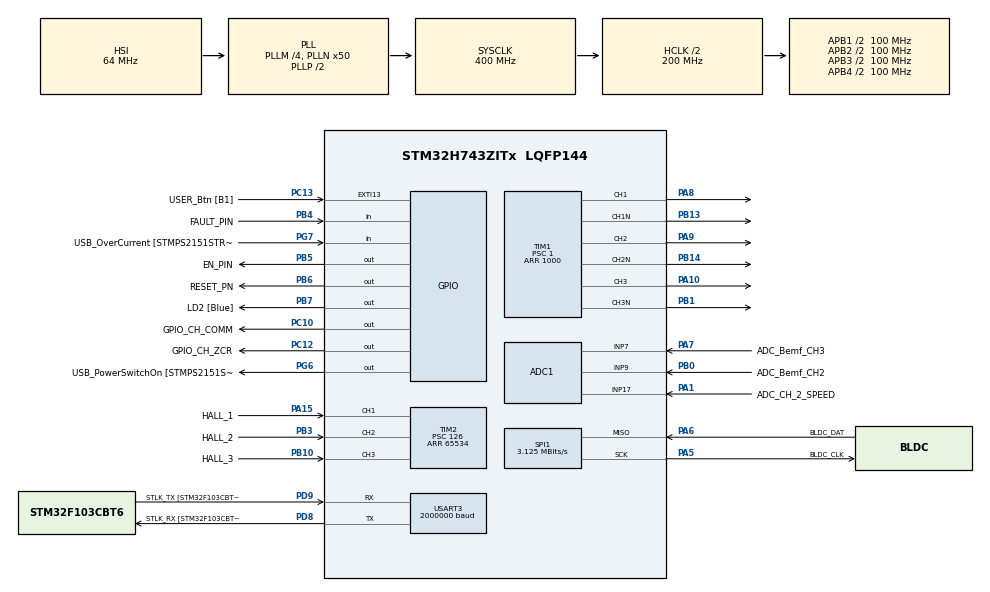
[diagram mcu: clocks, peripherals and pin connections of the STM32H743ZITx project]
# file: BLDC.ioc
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ADC1.Channel-0\#ChannelRegularConversion=ADC_CHANNEL_9
ADC1.NbrOfConversionFlag=1
ADC1.OffsetNumber-0\#ChannelRegularConversion=ADC_OFFSET_NONE
ADC1.Rank-0\#ChannelRegularConversion=1
ADC1.SamplingTime-0\#ChannelRegularConversion=ADC_SAMPLETIME_1CYCLE_5
ADC1.master=1
CORTEX_M7.CPU_ICache=Enabled
Dma.Request0=SPI1_RX
Dma.SPI1_RX.0.Direction=DMA_PERIPH_TO_MEMORY
Dma.SPI1_RX.0.EventEnable=DISABLE
Dma.SPI1_RX.0.FIFOMode=DMA_FIFOMODE_DISABLE
Dma.SPI1_RX.0.Instance=DMA1_Stream0
Dma.SPI1_RX.0.MemDataAlignment=DMA_MDATAALIGN_WORD
Dma.SPI1_RX.0.MemInc=DMA_MINC_ENABLE
Dma.SPI1_RX.0.Mode=DMA_CIRCULAR
Dma.SPI1_RX.0.PeriphDataAlignment=DMA_PDATAALIGN_WORD
Dma.SPI1_RX.0.PeriphInc=DMA_PINC_DISABLE
Dma.SPI1_RX.0.Polarity=HAL_DMAMUX_REQ_GEN_RISING
Dma.SPI1_RX.0.Priority=DMA_PRIORITY_VERY_HIGH
Dma.SPI1_RX.0.RequestNumber=1
Dma.SPI1_RX.0.SignalID=NONE
Dma.SPI1_RX.0.SyncEnable=DISABLE
Dma.SPI1_RX.0.SyncPolarity=HAL_DMAMUX_SYNC_NO_EVENT
Dma.SPI1_RX.0.SyncRequestNumber=1
Dma.SPI1_RX.0.SyncSignalID=NONE
Mcu.Family=STM32H7
Mcu.Name=STM32H743ZITx
Mcu.Package=LQFP144
NVIC.DMA1_Stream0_IRQn=true\:0\:0\:false\:false\:true\:false\:true
NVIC.EXTI15_10_IRQn=true\:0\:0\:false\:false\:true\:true\:true
NVIC.PriorityGroup=NVIC_PRIORITYGROUP_4
NVIC.SPI1_IRQn=true\:0\:0\:false\:false\:true\:false\:true
NVIC.TIM1_BRK_IRQn=true\:0\:0\:false\:false\:true\:true\:true
NVIC.TIM1_TRG_COM_IRQn=true\:0\:0\:false\:false\:true\:true\:true
NVIC.TIM2_IRQn=true\:0\:0\:false\:false\:true\:true\:true
NVIC.TIM6_DAC_IRQn=true\:0\:0\:false\:false\:true\:true\:true
PA0.GPIO_Label=ADC_CH_1_CURRENT
PA0.Signal=ADC1_INP16
PA1.GPIO_Label=ADC_CH_2_SPEED
PA1.Mode=IN17-Single-Ended
PA1.Signal=ADC1_INP17
PA10.GPIO_Speed=GPIO_SPEED_FREQ_VERY_HIGH
PA10.Signal=S_TIM1_CH3
PA13\ (JTMS/SWDIO).Mode=Serial_Wire
PA13\ (JTMS/SWDIO).Signal=DEBUG_JTMS-SWDIO
PA14\ (JTCK/SWCLK).Mode=Serial_Wire
PA14\ (JTCK/SWCLK).Signal=DEBUG_JTCK-SWCLK
PA15\ (JTDI).GPIO_Label=HALL_1
PA15\ (JTDI).GPIO_Speed=GPIO_SPEED_FREQ_VERY_HIGH
PA15\ (JTDI).Signal=S_TIM2_CH1
PA5.GPIO_Label=BLDC_CLK
PA5.GPIO_PuPd=GPIO_NOPULL
PA5.GPIO_Speed=GPIO_SPEED_FREQ_VERY_HIGH
PA5.Mode=RX_Only_Simplex_Unidirect_Master
PA5.Signal=SPI1_SCK
PA6.GPIO_Label=BLDC_DAT
PA6.GPIO_PuPd=GPIO_NOPULL
PA6.GPIO_Speed=GPIO_SPEED_FREQ_VERY_HIGH
PA6.Mode=RX_Only_Simplex_Unidirect_Master
PA6.Signal=SPI1_MISO
PA7.GPIO_Label=ADC_Bemf_CH3
PA7.Signal=ADCx_INP7
PA8.GPIO_Speed=GPIO_SPEED_FREQ_VERY_HIGH
PA8.Signal=S_TIM1_CH1
PA9.GPIO_Speed=GPIO_SPEED_FREQ_VERY_HIGH
PA9.Signal=S_TIM1_CH2
PB0.GPIO_Label=ADC_Bemf_CH2
PB0.Signal=ADCx_INP9
PB1.GPIO_Speed=GPIO_SPEED_FREQ_VERY_HIGH
PB1.Mode=Output Compare3 CH3 CH3N
PB1.Signal=TIM1_CH3N
PB10.GPIO_Label=HALL_3
PB10.GPIO_Speed=GPIO_SPEED_FREQ_VERY_HIGH
PB10.Signal=S_TIM2_CH3
PB13.GPIO_Speed=GPIO_SPEED_FREQ_VERY_HIGH
PB13.Mode=Output Compare1 CH1 CH1N
PB13.Signal=TIM1_CH1N
PB14.GPIO_Speed=GPIO_SPEED_FREQ_VERY_HIGH
PB14.Mode=Output Compare2 CH2 CH2N
PB14.Signal=TIM1_CH2N
PB3\ (JTDO/TRACESWO).GPIO_Label=HALL_2
PB3\ (JTDO/TRACESWO).GPIO_Speed=GPIO_SPEED_FREQ_VERY_HIGH
PB3\ (JTDO/TRACESWO).Signal=S_TIM2_CH2
PB4\ (NJTRST).GPIO_Label=FAULT_PIN
PB4\ (NJTRST).Signal=GPIO_Input
PB5.GPIO_Label=EN_PIN
PB5.Signal=GPIO_Output
PB6.GPIO_Label=RESET_PN
PB6.Signal=GPIO_Output
PB7.GPIO_Label=LD2 [Blue]
PB7.Signal=GPIO_Output
PC10.GPIO_Label=GPIO_CH_COMM
PC10.Signal=GPIO_Output
PC12.GPIO_Label=GPIO_CH_ZCR
PC12.Signal=GPIO_Output
PC13.GPIO_Label=USER_Btn [B1]
PC13.Signal=GPXTI13
PC14-OSC32_IN\ (OSC32_IN).Signal=RCC_OSC32_IN
PC15-OSC32_OUT\ (OSC32_OUT).Signal=RCC_OSC32_OUT
PC3_C.GPIO_Label=ADC_Bemf_CH1ADC_Bemf_CH1
PC3_C.Signal=ADC3_INP1
PD8.GPIO_Label=STLK_RX [STM32F103CBT6_PA3]
PD8.Mode=Asynchronous
PD8.Signal=USART3_TX
PD9.GPIO_Label=STLK_TX [STM32F103CBT6_PA2]
PD9.Mode=Asynchronous
PD9.Signal=USART3_RX
PG11.GPIO_Label=RMII_TX_EN
PG11.Signal=ETH_TX_EN
PG13.GPIO_Label=RMII_TXD0
PG13.Signal=ETH_TXD0
PG6.GPIO_Label=USB_PowerSwitchOn [STMPS2151STR_EN]
PG6.Signal=GPIO_Output
PG7.GPIO_Label=USB_OverCurrent [STMPS2151STR_FAULT]
PG7.Signal=GPIO_Input
PH0-OSC_IN\ (PH0).GPIO_Label=MCO
PH0-OSC_IN\ (PH0).Signal=RCC_OSC_IN
ProjectManager.HeapSize=0x200
ProjectManager.StackSize=0x400
ProjectManager.TargetToolchain=SW4STM32
RCC.48MHZClocksFreq_Value=24000000
RCC.ADCFreq_Value=160000000
RCC.AHBFreq_Value=216000000
RCC.APB1CLKDivider=RCC_HCLK_DIV4
RCC.APB1Freq_Value=100000000
RCC.APB1TimFreq_Value=108000000
RCC.APB2CLKDivider=RCC_HCLK_DIV2
RCC.APB2Freq_Value=100000000
RCC.APB2TimFreq_Value=216000000
RCC.APB3Freq_Value=100000000
RCC.APB4Freq_Value=100000000
RCC.CortexFreq_Value=400000000
RCC.D1PPRE=RCC_APB3_DIV2
RCC.D2PPRE1=RCC_APB1_DIV2
RCC.D2PPRE2=RCC_APB2_DIV2
RCC.D3PPRE=RCC_APB4_DIV2
RCC.DIVM1=4
RCC.DIVM2=4
RCC.DIVN1=50
RCC.DIVN2=10
RCC.DIVP2=1
RCC.HCLKFreq_Value=200000000
RCC.HPRE=RCC_HCLK_DIV2
RCC.HSE_VALUE=8000000
RCC.HSI_VALUE=64000000
RCC.PLLM=25
RCC.PLLMUL=RCC_PLL_MUL9
RCC.PLLN=432
RCC.PLLQ=9
RCC.PRESCALERUSB=RCC_USBCLKSOURCE_PLL_DIV1_5
RCC.PWR_Regulator_Voltage_Scale=PWR_REGULATOR_VOLTAGE_SCALE0
RCC.SYSCLKFreq_VALUE=400000000
RCC.SYSCLKSource=RCC_SYSCLKSOURCE_PLLCLK
RCC.SYSCLKSourceVirtual=RCC_SYSCLKSOURCE_PLLCLK
RCC.USBCLockSelection=RCC_USBCLKSOURCE_HSI48
RCC.USBFreq_Value=48000000
RCC.VCOOutputFreq_Value=432000000
SH.ADCx_INP7.0=ADC1_INP7,IN7-Single-Ended
SH.ADCx_INP9.0=ADC1_INP9,IN9-Single-Ended
SH.S_TIM1_CH1.0=TIM1_CH1,Output Compare1 CH1 CH1N
SH.S_TIM1_CH2.0=TIM1_CH2,Output Compare2 CH2 CH2N
SH.S_TIM1_CH3.0=TIM1_CH3,Output Compare3 CH3 CH3N
SH.S_TIM2_CH1.0=TIM2_CH1,Xored_Inputs_Hall_Sensor_Interface
SH.S_TIM2_CH2.0=TIM2_CH2,Xored_Inputs_Hall_Sensor_Interface
SH.S_TIM2_CH3.0=TIM2_CH3,Xored_Inputs_Hall_Sensor_Interface
SPI1.BaudRatePrescaler=SPI_BAUDRATEPRESCALER_128
SPI1.CLKPolarity=SPI_POLARITY_HIGH
SPI1.CRCCalculation=SPI_CRCCALCULATION_DISABLE
SPI1.CalculateBaudRate=3.125 MBits/s
SPI1.DataSize=SPI_DATASIZE_25BIT
SPI1.Direction=SPI_DIRECTION_2LINES_RXONLY
SPI1.MasterKeepIOState=SPI_MASTER_KEEP_IO_STATE_DISABLE
SPI1.MasterReceiverAutoSusp=SPI_MASTER_RX_AUTOSUSP_DISABLE
SPI1.Mode=SPI_MODE_MASTER
SPI1.NSSPMode=SPI_NSS_PULSE_DISABLE
SPI1.RxCRCInitializationPattern=SPI_CRC_INITIALIZATION_ALL_ZERO_PATTERN
SPI1.TxCRCInitializationPattern=SPI_CRC_INITIALIZATION_ALL_ZERO_PATTERN
SPI1.VirtualType=VM_MASTER
TIM1.AutomaticOutput=TIM_AUTOMATICOUTPUT_ENABLE
TIM1.BreakState=TIM_BREAK_DISABLE
TIM1.Channel-Output\ Compare1\ CH1\ CH1N=TIM_CHANNEL_1
TIM1.Channel-Output\ Compare2\ CH2\ CH2N=TIM_CHANNEL_2
TIM1.Channel-Output\ Compare3\ CH3\ CH3N=TIM_CHANNEL_3
TIM1.DeadTime=18
TIM1.OCIdleState_1=TIM_OCIDLESTATE_SET
TIM1.OCIdleState_2=TIM_OCIDLESTATE_SET
TIM1.OCIdleState_3=TIM_OCIDLESTATE_SET
TIM1.OCNIdleState_1=TIM_OCNIDLESTATE_SET
TIM1.OCNIdleState_2=TIM_OCNIDLESTATE_SET
TIM1.OCNIdleState_3=TIM_OCNIDLESTATE_SET
TIM1.OffStateIDLEMode=TIM_OSSI_ENABLE
TIM1.OffStateRunMode=TIM_OSSR_ENABLE
TIM1.Period=1000
TIM1.Prescaler=1
TIM1.Pulse-Output\ Compare1\ CH1\ CH1N=999
TIM1.Pulse-Output\ Compare2\ CH2\ CH2N=999
TIM1.Pulse-Output\ Compare3\ CH3\ CH3N=999
TIM1.SourceBRKDigInput=TIM_BREAKINPUTSOURCE_DISABLE
TIM2.Commutation_Delay=1
TIM2.IC1Filter=0xF
TIM2.Period=65534
TIM2.Prescaler=126
TIM6.Period=65535
TIM6.Prescaler=65535
USART3.BaudRate=2000000
USART3.VirtualMode-Asynchronous=VM_ASYNC
VP_TIM2_VS_ClockSourceINT.Mode=Internal
VP_TIM6_VS_ClockSourceINT.Mode=Enable_Timer
board=custom

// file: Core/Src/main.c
/* USER CODE BEGIN Header */
/**
  ******************************************************************************
  * @file           : main.c
  * @brief          : Main program body
  ******************************************************************************
  * @attention
  *
  * <h2><center>&copy; Copyright (c) 2019 STMicroelectronics.
  * All rights reserved.</center></h2>
  *
  * This software component is licensed by ST under BSD 3-Clause license,
  * the "License"; You may not use this file except in compliance with the
  * License. You may obtain a copy of the License at:
  *                        opensource.org/licenses/BSD-3-Clause
  *
  ******************************************************************************
  */
/* USER CODE END Header */

#include "main.h"
#include "adc.h"
#include "dma.h"
#include "spi.h"
#include "tim.h"
#include "usart.h"
#include "gpio.h"

/* USER CODE BEGIN Includes */
#include "bldc.h"
#include "aesm-4096.h"

/* USER CODE END Includes */

void SystemClock_Config(void);

int main(void)
{

  /* Enable I-Cache---------------------------------------------------------*/
  SCB_EnableICache();

  /* MCU Configuration--------------------------------------------------------*/

  /* Reset of all peripherals, Initializes the Flash interface and the Systick. */
  HAL_Init();

  /* Configure the system clock */
  SystemClock_Config();

  /* Initialize all configured peripherals */
  MX_GPIO_Init();
  MX_DMA_Init();
  MX_ADC1_Init();
  MX_SPI1_Init();
  MX_TIM1_Init();
  MX_TIM2_Init();
  MX_TIM6_Init();
  MX_USART3_UART_Init();

  /* Infinite loop */
  /* USER CODE BEGIN WHILE */
#define MIN 0
#define MAX 1000
    printf("HELLO BLDC WORLD \n\r");

    aesm4096_Init();
    BLDC_init();
//    while(1)
//    {
//    	printf("encoder = %d\n", (int)aesm4096_getPosition());
//    	HAL_Delay(100);
//    }
//    BLDC_setDir(CCW);
//    BLDC_setDutyCycle(30);
//    while(1);
    while (1)
    {

        BLDC_setDir(CW);
        BLDC_setSync(SYNC);
        for (int i = MIN; i < MAX; i+=20)
        {
            BLDC_setDutyCycle(i);
            HAL_Delay(1);
        }
        for (int i = MIN; i < MAX; i+=20)
        {
            BLDC_setDutyCycle(MAX - i + MIN);
            HAL_Delay(1);
        }
        BLDC_setDir(CCW);
        for (int i = MIN; i < MAX; i+=20)
        {
            BLDC_setDutyCycle(i);
            HAL_Delay(1);
        }
        for (int i = MIN; i < MAX; i+=20)
        {
            BLDC_setDutyCycle(MAX - i + MIN);
            HAL_Delay(1);
        }

    /* USER CODE END WHILE */

  }
}

void SystemClock_Config(void)
{
  RCC_OscInitTypeDef RCC_OscInitStruct = {0};
  RCC_ClkInitTypeDef RCC_ClkInitStruct = {0};
  RCC_PeriphCLKInitTypeDef PeriphClkInitStruct = {0};

  /** Supply configuration update enable
  */
  HAL_PWREx_ConfigSupply(PWR_LDO_SUPPLY);
  /** Configure the main internal regulator output voltage
  */
  __HAL_PWR_VOLTAGESCALING_CONFIG(PWR_REGULATOR_VOLTAGE_SCALE0);

  while(!__HAL_PWR_GET_FLAG(PWR_FLAG_VOSRDY)) {}
  /** Macro to configure the PLL clock source
  */
  __HAL_RCC_PLL_PLLSOURCE_CONFIG(RCC_PLLSOURCE_HSI);
  /** Initializes the CPU, AHB and APB busses clocks
  */
  RCC_OscInitStruct.OscillatorType = RCC_OSCILLATORTYPE_HSI;
  RCC_OscInitStruct.HSIState = RCC_HSI_DIV1;
  RCC_OscInitStruct.HSICalibrationValue = RCC_HSICALIBRATION_DEFAULT;
  RCC_OscInitStruct.PLL.PLLState = RCC_PLL_ON;
  RCC_OscInitStruct.PLL.PLLSource = RCC_PLLSOURCE_HSI;
  RCC_OscInitStruct.PLL.PLLM = 4;
  RCC_OscInitStruct.PLL.PLLN = 50;
  RCC_OscInitStruct.PLL.PLLP = 2;
  RCC_OscInitStruct.PLL.PLLQ = 2;
  RCC_OscInitStruct.PLL.PLLR = 2;
  RCC_OscInitStruct.PLL.PLLRGE = RCC_PLL1VCIRANGE_3;
  RCC_OscInitStruct.PLL.PLLVCOSEL = RCC_PLL1VCOWIDE;
  RCC_OscInitStruct.PLL.PLLFRACN = 0;
  if (HAL_RCC_OscConfig(&RCC_OscInitStruct) != HAL_OK)
  {
    Error_Handler();
  }
  /** Initializes the CPU, AHB and APB busses clocks
  */
  RCC_ClkInitStruct.ClockType = RCC_CLOCKTYPE_HCLK|RCC_CLOCKTYPE_SYSCLK
                              |RCC_CLOCKTYPE_PCLK1|RCC_CLOCKTYPE_PCLK2
                              |RCC_CLOCKTYPE_D3PCLK1|RCC_CLOCKTYPE_D1PCLK1;
  RCC_ClkInitStruct.SYSCLKSource = RCC_SYSCLKSOURCE_PLLCLK;
  RCC_ClkInitStruct.SYSCLKDivider = RCC_SYSCLK_DIV1;
  RCC_ClkInitStruct.AHBCLKDivider = RCC_HCLK_DIV2;
  RCC_ClkInitStruct.APB3CLKDivider = RCC_APB3_DIV2;
  RCC_ClkInitStruct.APB1CLKDivider = RCC_APB1_DIV2;
  RCC_ClkInitStruct.APB2CLKDivider = RCC_APB2_DIV2;
  RCC_ClkInitStruct.APB4CLKDivider = RCC_APB4_DIV2;

  if (HAL_RCC_ClockConfig(&RCC_ClkInitStruct, FLASH_LATENCY_2) != HAL_OK)
  {
    Error_Handler();
  }
  PeriphClkInitStruct.PeriphClockSelection = RCC_PERIPHCLK_USART3|RCC_PERIPHCLK_SPI1
                              |RCC_PERIPHCLK_ADC;
  PeriphClkInitStruct.PLL2.PLL2M = 4;
  PeriphClkInitStruct.PLL2.PLL2N = 10;
  PeriphClkInitStruct.PLL2.PLL2P = 1;
  PeriphClkInitStruct.PLL2.PLL2Q = 2;
  PeriphClkInitStruct.PLL2.PLL2R = 2;
  PeriphClkInitStruct.PLL2.PLL2RGE = RCC_PLL2VCIRANGE_3;
  PeriphClkInitStruct.PLL2.PLL2VCOSEL = RCC_PLL2VCOMEDIUM;
  PeriphClkInitStruct.PLL2.PLL2FRACN = 0;
  PeriphClkInitStruct.Spi123ClockSelection = RCC_SPI123CLKSOURCE_PLL;
  PeriphClkInitStruct.Usart234578ClockSelection = RCC_USART234578CLKSOURCE_D2PCLK1;
  PeriphClkInitStruct.AdcClockSelection = RCC_ADCCLKSOURCE_PLL2;
  if (HAL_RCCEx_PeriphCLKConfig(&PeriphClkInitStruct) != HAL_OK)
  {
    Error_Handler();
  }
}

void Error_Handler(void)
{
}

/************************ (C) COPYRIGHT STMicroelectronics *****END OF FILE****/
